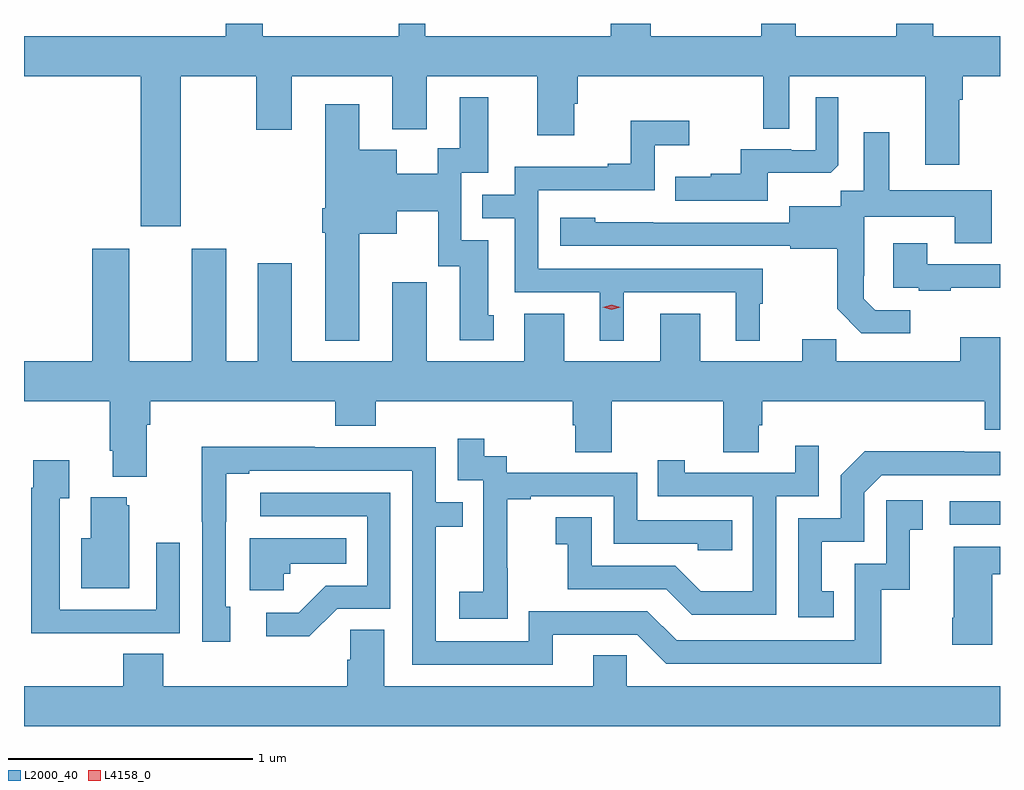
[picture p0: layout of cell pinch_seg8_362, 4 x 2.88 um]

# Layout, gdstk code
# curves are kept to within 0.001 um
import gdstk
lib = gdstk.Library(unit=1e-6, precision=1e-09)
def R(c, l, rs):  # rectangles x0, y0, x1, y1
    for r in rs: c.add(gdstk.rectangle(r[:2], r[2:], *l))
def P(c, l, *ps):  # polygons
    for p in ps: c.add(gdstk.Polygon(p, *l))
L2000_40 = (2000, 40)
L4158_0 = (4158, 0)

pinch_seg8_362 = lib.new_cell('pinch_seg8_362')
R(pinch_seg8_362, L2000_40, [(391.101,1113.33,391.307,1113.426)])
P(pinch_seg8_362, L2000_40, [(387.949,1115.168),(388.258,1115.168),(388.258,1114.95),(388.405,1114.95),(388.405,1115.168),(388.817,1115.168),(388.817,1114.952),(388.957,1114.952),(388.957,1115.168),(389.411,1115.168),(389.411,1114.926),(389.563,1114.926),(389.563,1115.055),(389.576,1115.055),(389.576,1115.168),(390.336,1115.168),(390.336,1114.954),(390.444,1114.954),(390.444,1115.168),(391.001,1115.168),(391.001,1114.806),(391.141,1114.806),(391.141,1115.072),(391.154,1115.072),(391.154,1115.168),(391.307,1115.168),(391.307,1115.332),(391.034,1115.332),(391.034,1115.384),(390.881,1115.384),(390.881,1115.332),(390.469,1115.332),(390.469,1115.384),(390.329,1115.384),(390.329,1115.332),(389.875,1115.332),(389.875,1115.384),(389.711,1115.384),(389.711,1115.332),(388.951,1115.332),(388.951,1115.384),(388.842,1115.384),(388.842,1115.332),(388.285,1115.332),(388.285,1115.384),(388.133,1115.384),(388.133,1115.332),(387.307,1115.332),(387.307,1115.168),(387.785,1115.168),(387.785,1114.554),(387.949,1114.554)],
  [(390.355,1114.772),(390.613,1114.772),(390.645,1114.803),(390.645,1115.083),(390.552,1115.083),(390.552,1114.866),(390.452,1114.866),(390.452,1114.869),(390.245,1114.869),(390.245,1114.768),(390.121,1114.768),(390.121,1114.756),(389.977,1114.756),(389.977,1114.659),(390.355,1114.659)],
  [(388.681,1114.523),(388.834,1114.523),(388.834,1114.616),(389.004,1114.616),(389.004,1114.389),(389.093,1114.389),(389.093,1114.086),(389.233,1114.086),(389.233,1114.188),(389.209,1114.188),(389.209,1114.497),(389.1,1114.497),(389.1,1114.773),(389.209,1114.773),(389.209,1115.083),(389.093,1115.083),(389.093,1114.874),(389.003,1114.874),(389.003,1114.768),(388.834,1114.768),(388.834,1114.867),(388.681,1114.867),(388.681,1115.053),(388.541,1115.053),(388.541,1114.627),(388.529,1114.627),(388.529,1114.527),(388.541,1114.527),(388.541,1114.085),(388.681,1114.085)],
  [(389.764,1114.284),(390.224,1114.284),(390.224,1114.085),(390.322,1114.085),(390.322,1114.236),(390.334,1114.236),(390.334,1114.38),(389.415,1114.38),(389.415,1114.701),(389.892,1114.701),(389.892,1114.886),(390.034,1114.886),(390.034,1114.985),(389.794,1114.985),(389.794,1114.81),(389.699,1114.81),(389.699,1114.797),(389.319,1114.797),(389.319,1114.683),(389.185,1114.683),(389.185,1114.587),(389.319,1114.587),(389.319,1114.284),(389.666,1114.284),(389.666,1114.085),(389.764,1114.085)],
  [(390.94,1114.209),(390.795,1114.209),(390.748,1114.256),(390.748,1114.351),(390.75,1114.351),(390.75,1114.592),(391.121,1114.592),(391.121,1114.483),(391.273,1114.483),(391.273,1114.702),(390.853,1114.702),(390.853,1114.939),(390.749,1114.939),(390.749,1114.7),(390.654,1114.7),(390.654,1114.636),(390.443,1114.636),(390.443,1114.569),(389.649,1114.57),(389.649,1114.588),(389.505,1114.588),(389.505,1114.473),(390.447,1114.473),(390.447,1114.461),(390.639,1114.461),(390.639,1114.215),(390.739,1114.115),(390.94,1114.115)],
  [(391.105,1114.301),(391.307,1114.301),(391.307,1114.398),(391.009,1114.398),(391.009,1114.483),(390.869,1114.483),(390.869,1114.302),(390.973,1114.302),(390.973,1114.29),(391.105,1114.29)],
  [(387.587,1114),(387.307,1114),(387.307,1113.836),(387.659,1113.836),(387.659,1113.634),(387.671,1113.634),(387.671,1113.527),(387.811,1113.527),(387.811,1113.74),(387.824,1113.74),(387.824,1113.836),(388.583,1113.836),(388.583,1113.737),(388.748,1113.737),(388.748,1113.836),(389.555,1113.836),(389.555,1113.738),(389.567,1113.738),(389.567,1113.628),(389.715,1113.628),(389.715,1113.836),(390.172,1113.836),(390.172,1113.628),(390.319,1113.628),(390.319,1113.738),(390.332,1113.738),(390.332,1113.836),(391.244,1113.836),(391.244,1113.719),(391.307,1113.719),(391.307,1114.099),(391.145,1114.099),(391.145,1114),(390.635,1114),(390.635,1114.091),(390.497,1114.091),(390.497,1114),(390.079,1114),(390.079,1114.195),(389.915,1114.195),(389.915,1114),(389.521,1114),(389.521,1114.195),(389.357,1114.195),(389.357,1114),(388.957,1114),(388.957,1114.324),(388.817,1114.324),(388.817,1114),(388.405,1114),(388.405,1114.402),(388.265,1114.402),(388.265,1114),(388.135,1114),(388.135,1114.462),(387.995,1114.462),(387.995,1114),(387.739,1114),(387.739,1114.462),(387.587,1114.462)],
  [(389.289,1113.151),(389.288,1113.151),(389.288,1113.435),(389.383,1113.435),(389.383,1113.447),(389.724,1113.447),(389.724,1113.252),(390.069,1113.252),(390.069,1113.225),(390.209,1113.225),(390.209,1113.348),(389.82,1113.348),(389.82,1113.543),(389.286,1113.543),(389.286,1113.612),(389.194,1113.612),(389.194,1113.682),(389.085,1113.682),(389.085,1113.513),(389.19,1113.513),(389.19,1113.284),(389.189,1113.284),(389.189,1113.055),(389.091,1113.055),(389.091,1112.945),(389.289,1112.945)],
  [(390.39,1113.447),(390.564,1113.447),(390.564,1113.655),(390.467,1113.655),(390.467,1113.543),(390.016,1113.543),(390.016,1113.595),(389.905,1113.595),(389.905,1113.447),(390.294,1113.447),(390.294,1113.058),(390.08,1113.058),(389.976,1113.162),(389.634,1113.162),(389.634,1113.361),(389.487,1113.361),(389.487,1113.251),(389.536,1113.251),(389.536,1113.066),(389.939,1113.066),(390.044,1112.961),(390.39,1112.961)],
  [(389.473,1112.88),(389.82,1112.88),(389.94,1112.76),(390.82,1112.76),(390.82,1113.063),(390.938,1113.063),(390.938,1113.309),(390.991,1113.309),(390.991,1113.43),(390.84,1113.43),(390.84,1113.171),(390.711,1113.171),(390.711,1112.856),(389.982,1112.856),(389.862,1112.976),(389.376,1112.976),(389.376,1112.853),(388.995,1112.853),(388.995,1113.322),(389.105,1113.322),(389.105,1113.423),(388.995,1113.423),(388.995,1113.648),(388.499,1113.648),(388.499,1113.65),(388.036,1113.65),(388.036,1113.343),(388.038,1113.343),(388.038,1112.85),(388.153,1112.85),(388.153,1112.994),(388.134,1112.994),(388.135,1113.54),(388.231,1113.54),(388.231,1113.552),(388.899,1113.552),(388.899,1112.757),(389.473,1112.757)],
  [(390.626,1113.057),(390.577,1113.057),(390.577,1113.261),(390.75,1113.261),(390.75,1113.462),(390.822,1113.534),(391.307,1113.534),(391.307,1113.63),(391.16,1113.63),(391.16,1113.632),(390.752,1113.632),(390.654,1113.534),(390.654,1113.357),(390.48,1113.357),(390.48,1112.952),(390.626,1112.952)],
  [(387.629,1112.886),(387.945,1112.886),(387.945,1113.256),(387.849,1113.256),(387.849,1112.982),(387.453,1112.982),(387.453,1113.439),(387.493,1113.439),(387.493,1113.595),(387.345,1113.595),(387.345,1113.482),(387.337,1113.482),(387.337,1112.885),(387.629,1112.885)],
  [(388.59,1112.985),(388.809,1112.985),(388.809,1113.462),(388.275,1113.462),(388.275,1113.366),(388.713,1113.366),(388.713,1113.081),(388.544,1113.081),(388.433,1112.97),(388.299,1112.97),(388.299,1112.873),(388.477,1112.873)],
  [(387.739,1113.411),(387.728,1113.411),(387.728,1113.442),(387.581,1113.442),(387.581,1113.274),(387.542,1113.274),(387.542,1113.071),(387.739,1113.071)],
  [(388.371,1113.129),(388.398,1113.129),(388.398,1113.17),(388.628,1113.17),(388.628,1113.274),(388.232,1113.274),(388.232,1113.062),(388.371,1113.062)],
  [(391.276,1113.127),(391.307,1113.127),(391.307,1113.241),(391.118,1113.241),(391.118,1112.95),(391.111,1112.95),(391.111,1112.838),(391.276,1112.838)],
  [(391.307,1112.668),(389.778,1112.668),(389.778,1112.795),(389.639,1112.795),(389.639,1112.668),(388.783,1112.668),(388.783,1112.9),(388.644,1112.9),(388.644,1112.777),(388.631,1112.777),(388.631,1112.668),(387.878,1112.668),(387.878,1112.801),(387.713,1112.801),(387.713,1112.668),(387.307,1112.668),(387.307,1112.504),(391.307,1112.504)])
P(pinch_seg8_362, L4158_0, [(389.715,1114.212),(389.679,1114.222),(389.679,1114.222),(389.679,1114.222),(389.715,1114.232),(389.751,1114.222),(389.751,1114.222),(389.751,1114.222)])

lib.write_gds('pinch_seg8_362.gds')
